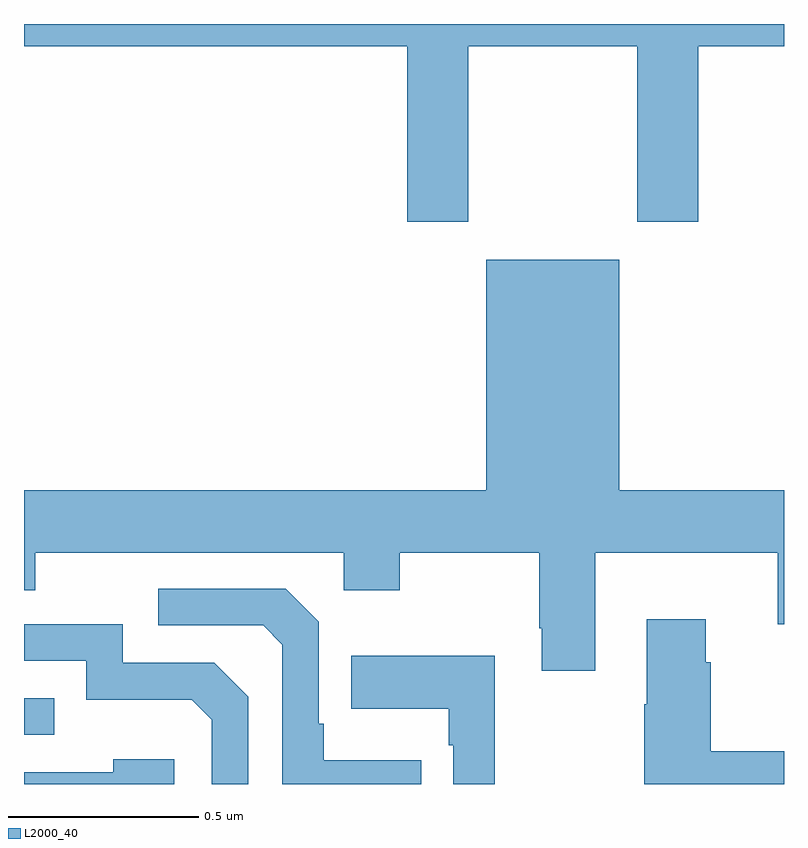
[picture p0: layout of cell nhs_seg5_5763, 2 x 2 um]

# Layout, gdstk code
import gdstk
lib = gdstk.Library(unit=1e-6, precision=1e-09)
def R(c, l, rs):  # rectangles x0, y0, x1, y1
    for r in rs: c.add(gdstk.rectangle(r[:2], r[2:], *l))
def P(c, l, *ps):  # polygons
    for p in ps: c.add(gdstk.Polygon(p, *l))
L2000_40 = (2000, 40)

nhs_seg5_5763 = lib.new_cell('nhs_seg5_5763')
R(nhs_seg5_5763, L2000_40, [(187,874.929,187.079,875.025)])
P(nhs_seg5_5763, L2000_40, [(188.169,876.74),(188.614,876.74),(188.614,876.279),(188.774,876.279),(188.774,876.74),(189,876.74),(189,876.799),(187,876.799),(187,876.74),(188.009,876.74),(188.009,876.279),(188.169,876.279)],
  [(188.503,875.408),(188.984,875.408),(188.984,875.22),(189,875.22),(189,875.572),(188.566,875.572),(188.566,876.178),(188.216,876.178),(188.216,875.572),(187,875.572),(187,875.309),(187.029,875.309),(187.029,875.408),(187.842,875.408),(187.842,875.309),(187.989,875.309),(187.989,875.408),(188.356,875.408),(188.356,875.209),(188.363,875.209),(188.363,875.097),(188.503,875.097)],
  [(188.045,874.861),(187.789,874.861),(187.789,874.957),(187.776,874.957),(187.776,875.226),(187.689,875.313),(187.353,875.313),(187.353,875.217),(187.629,875.217),(187.68,875.166),(187.68,874.799),(188.045,874.799)],
  [(189,874.885),(188.807,874.885),(188.807,875.12),(188.794,875.12),(188.794,875.233),(188.639,875.233),(188.639,875.009),(188.632,875.009),(188.632,874.799),(189,874.799)],
  [(187.59,875.028),(187.5,875.118),(187.26,875.118),(187.26,875.22),(187,875.22),(187,875.124),(187.164,875.124),(187.164,875.021),(187.441,875.021),(187.494,874.968),(187.494,874.799),(187.59,874.799)],
  [(188.239,875.137),(187.861,875.137),(187.861,874.997),(188.118,874.997),(188.118,874.901),(188.13,874.901),(188.13,874.799),(188.239,874.799)],
  [(187.396,874.864),(187.235,874.864),(187.235,874.83),(187,874.83),(187,874.799),(187.396,874.799)])

lib.write_gds('nhs_seg5_5763.gds')
